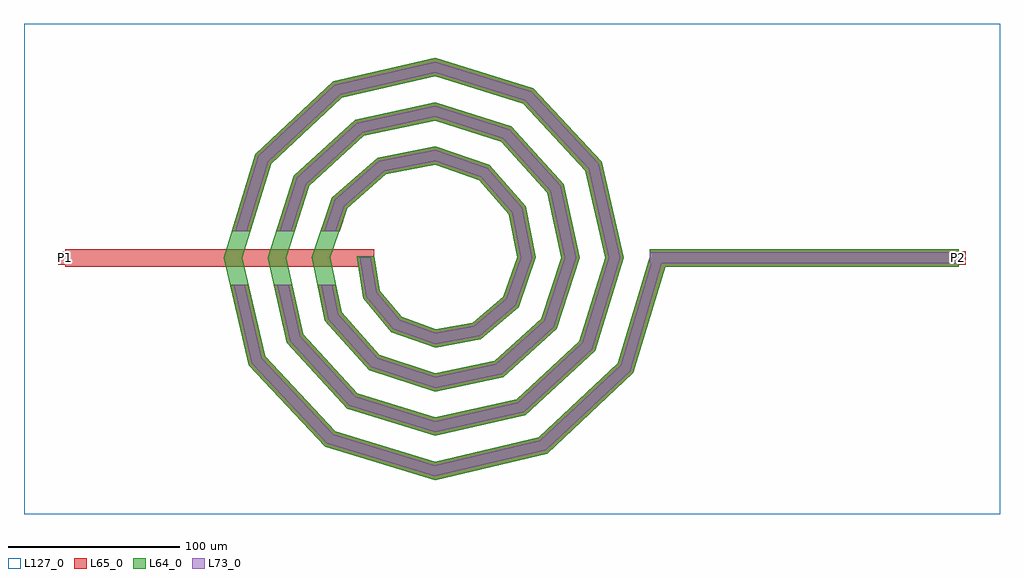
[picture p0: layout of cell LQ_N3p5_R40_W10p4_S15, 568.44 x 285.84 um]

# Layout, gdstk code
import gdstk
lib = gdstk.Library(unit=1e-6, precision=1e-09)
def R(c, l, rs):  # rectangles x0, y0, x1, y1
    for r in rs: c.add(gdstk.rectangle(r[:2], r[2:], *l))
def P(c, l, *ps):  # polygons
    for p in ps: c.add(gdstk.Polygon(p, *l))
L64_0 = (64, 0)
L65_0 = (65, 0)
L73_0 = (73, 0)
L127_0 = (127, 0)

lq_n3p5_r40_w10p4_s15 = lib.new_cell('LQ_N3p5_R40_W10p4_S15')
R(lq_n3p5_r40_w10p4_s15, L64_0, [(125.183,-5.2,305.183,5.2)])
P(lq_n3p5_r40_w10p4_s15, L64_0, [(-31.997,-19.055),(-19.274,-34.341),(0.458,-41.517),(22.207,-37.589),(39.87,-22.535),(47.936,0.403),(43.173,25.373),(25.785,45.407),(0.36,54.356),(-28.549,48.754),(-50.949,29.028),(-60.778,0.325),(-54.331,-31.731),(-32.265,-56.495),(0.296,-67.199),(34.919,-59.906),(62.044,-35.498),(73.621,0.272),(65.479,38.11),(38.728,67.595),(0.252,80.043),(-41.305,71.051),(-73.147,41.955),(-86.466,0.234),(-76.621,-44.501),(-45.18,-78.701),(0.219,-92.888),(47.7,-82.191),(84.257,-48.403),(99.311,0.205),(87.759,50.9),(51.626,89.813),(0.193,105.734),(-54.102,93.327),(-95.369,54.846),(-112.156,0.183),(-98.895,-57.304),(-58.066,-100.927),(0.173,-118.579),(60.508,-104.462),(106.485,-61.285),(125.405,1.5),(135.362,-1.5),(115.638,-66.957),(65.594,-113.952),(0.173,-129.341),(-63.753,-110.07),(-108.394,-62.374),(-122.918,0.183),(-104.503,60.55),(-59.153,102.837),(0.193,116.495),(57.348,98.934),(97.279,55.932),(110.071,0.205),(93.365,-54.147),(52.709,-91.723),(0.219,-103.648),(-50.947,-87.795),(-86.167,-49.485),(-97.224,0.234),(-82.224,47.749),(-46.258,80.612),(0.252,90.8),(44.553,76.652),(75.059,43.029),(84.376,0.272),(71.078,-41.36),(39.798,-69.507),(0.296,-77.952),(-38.169,-65.501),(-63.957,-36.562),(-71.528,0.325),(-59.922,34.984),(-33.322,58.409),(0.36,65.103),(31.803,54.339),(52.864,30.074),(58.677,0.403),(48.751,-28.631),(26.817,-47.324),(0.458,-52.25),(-25.469,-43.155),(-41.79,-23.546),(-45.589,0.859),(-35.332,0.859)])
R(lq_n3p5_r40_w10p4_s15, L65_0, [(-215.26,-5.2,-35.26,5.2), (125.183,-5.2,305.183,5.2), (-219.26,-4,-211.26,4), (301.183,-4,309.183,4)])
P(lq_n3p5_r40_w10p4_s15, L65_0, [(-98.895,-57.304),(-58.066,-100.927),(0.173,-118.579),(60.508,-104.462),(106.485,-61.285),(125.405,1.5),(135.362,-1.5),(115.638,-66.957),(65.594,-113.952),(0.173,-129.341),(-63.753,-110.07),(-108.394,-62.374),(-119.254,-15.6),(-108.577,-15.6)],
  [(-76.621,-44.501),(-45.18,-78.702),(0.219,-92.888),(47.7,-82.191),(84.257,-48.404),(99.311,0.205),(87.759,50.9),(51.626,89.813),(0.194,105.734),(-54.102,93.327),(-95.369,54.846),(-107.342,15.6),(-118.215,15.6),(-104.503,60.55),(-59.154,102.837),(0.194,116.495),(57.348,98.934),(97.279,55.932),(110.071,0.205),(93.365,-54.147),(52.709,-91.723),(0.219,-103.648),(-50.947,-87.795),(-86.167,-49.485),(-93.703,-15.6),(-83.049,-15.6)],
  [(-54.331,-31.732),(-32.265,-56.495),(0.296,-67.199),(34.919,-59.906),(62.044,-35.498),(73.621,0.272),(65.479,38.11),(38.728,67.595),(0.252,80.043),(-41.305,71.051),(-73.147,41.955),(-81.467,15.6),(-92.373,15.6),(-82.224,47.749),(-46.258,80.612),(0.252,90.8),(44.553,76.652),(75.059,43.03),(84.376,0.272),(71.078,-41.36),(39.798,-69.507),(0.296,-77.952),(-38.17,-65.501),(-63.957,-36.562),(-68.259,-15.6),(-57.642,-15.6)],
  [(-19.274,-34.341),(0.458,-41.517),(22.207,-37.589),(39.87,-22.535),(47.936,0.403),(43.174,25.373),(25.785,45.407),(0.36,54.356),(-28.549,48.754),(-50.949,29.028),(-55.445,15.6),(-66.413,15.6),(-59.922,34.984),(-33.322,58.409),(0.36,65.103),(31.803,54.339),(52.864,30.074),(58.677,0.403),(48.751,-28.631),(26.817,-47.324),(0.458,-52.25),(-25.469,-43.155),(-41.79,-23.546),(-45.589,0.859),(-35.332,0.859),(-31.998,-19.055)])
R(lq_n3p5_r40_w10p4_s15, L73_0, [(125.183,-3.2,305.183,3.2)])
P(lq_n3p5_r40_w10p4_s15, L73_0, [(-100.722,-58.279),(-59.16,-102.685),(0.107,-120.649),(61.486,-106.287),(108.245,-62.376),(127.32,0.923),(133.447,0.923),(113.877,-65.866),(64.616,-112.127),(0.107,-127.272),(-62.659,-108.312),(-106.567,-61.399),(-117.201,-15.6),(-110.63,-15.6)],
  [(-78.457,-45.46),(-46.289,-80.45),(0.135,-94.958),(48.663,-84.024),(86.008,-49.508),(101.38,0.126),(89.59,51.868),(52.726,91.567),(0.119,107.803),(-55.073,95.156),(-97.126,55.943),(-109.433,15.6),(-116.124,15.6),(-102.746,59.453),(-58.182,101.008),(0.119,114.425),(56.247,97.18),(95.449,54.964),(108.002,0.126),(91.614,-53.042),(51.746,-89.89),(0.135,-101.579),(-49.838,-86.047),(-84.331,-48.526),(-91.654,-15.6),(-85.098,-15.6)],
  [(-56.182,-32.66),(-33.401,-58.227),(0.182,-69.267),(35.857,-61.753),(63.781,-36.625),(75.69,0.167),(67.322,39.056),(39.848,69.337),(0.155,82.112),(-42.257,72.89),(-74.893,43.069),(-83.565,15.6),(-90.276,15.6),(-80.479,46.635),(-45.306,78.774),(0.155,88.732),(43.433,74.91),(73.217,42.084),(82.308,0.167),(69.341,-40.232),(38.86,-67.661),(0.182,-75.884),(-37.034,-63.77),(-62.106,-35.633),(-66.218,-15.6),(-59.684,-15.6)],
  [(-20.465,-36.036),(0.282,-43.581),(23.094,-39.461),(41.578,-23.707),(50.002,0.248),(45.037,26.277),(26.943,47.125),(0.221,56.423),(-29.467,50.611),(-52.675,30.173),(-57.554,15.6),(-64.304,15.6),(-58.197,33.838),(-32.404,56.552),(0.221,63.036),(30.646,52.622),(51.001,29.17),(56.611,0.248),(47.043,-27.458),(25.931,-45.452),(0.282,-50.186),(-24.278,-41.46),(-39.907,-22.683),(-43.616,0.528),(-37.304,0.528),(-33.881,-19.919)])
R(lq_n3p5_r40_w10p4_s15, L127_0, [(-239.26,-149.341,329.183,136.495)])
lq_n3p5_r40_w10p4_s15.add(gdstk.Label('P2', (305.183,0), layer=65, texttype=0))
lq_n3p5_r40_w10p4_s15.add(gdstk.Label('P1', (-215.26,0), layer=65, texttype=0))
lq_n3p5_r40_w10p4_s15.add(gdstk.Label('P2', (309.183,0), layer=145, texttype=0))
lq_n3p5_r40_w10p4_s15.add(gdstk.Label('P1', (-219.26,0), layer=145, texttype=0))

lib.write_gds('LQ_N3p5_R40_W10p4_S15.gds')
